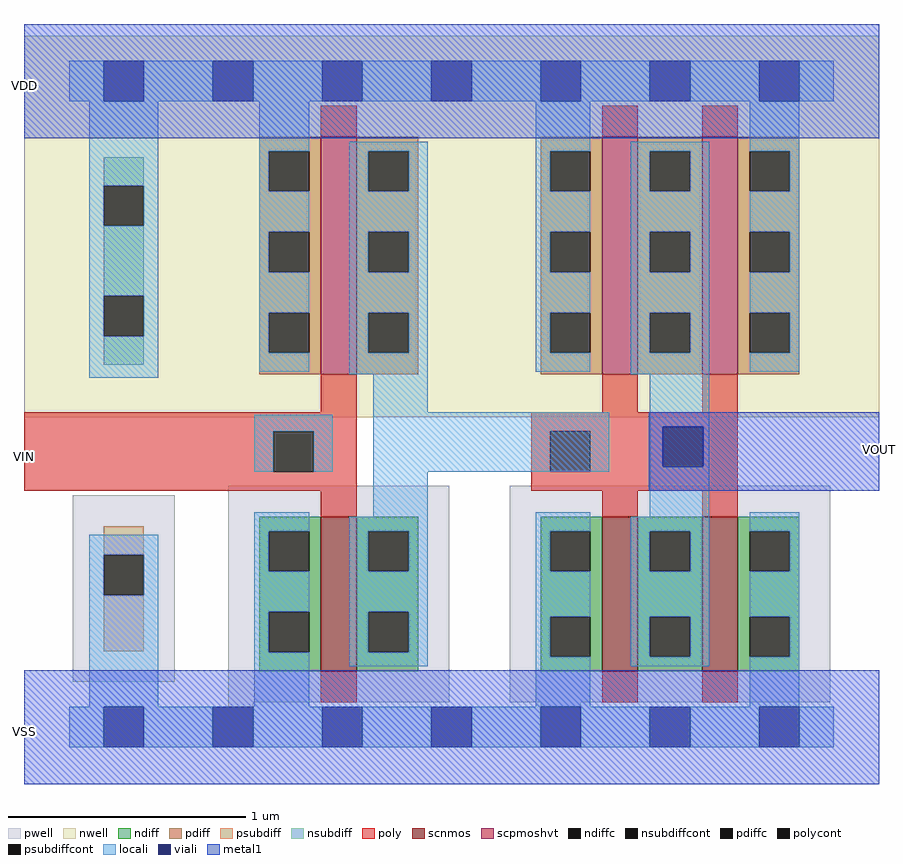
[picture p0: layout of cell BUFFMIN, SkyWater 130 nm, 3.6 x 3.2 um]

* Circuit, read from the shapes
.subckt BUFFMIN VDD VIN VOUT VSS
XM1 sky130_fd_sc_hd__inv_2_0/A VIN VSS VSS sky130_fd_pr__nfet_01v8 w=0.65 l=0.15
XM2 VOUT sky130_fd_sc_hd__inv_2_0/A VSS VSS sky130_fd_pr__nfet_01v8 w=0.65 l=0.15 m=2
XM3 sky130_fd_sc_hd__inv_2_0/A VIN VDD VDD sky130_fd_pr__pfet_01v8_hvt w=1 l=0.15
XM4 VOUT sky130_fd_sc_hd__inv_2_0/A VDD VDD sky130_fd_pr__pfet_01v8_hvt w=1 l=0.15 m=2
.ends

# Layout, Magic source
magic
tech sky130A
magscale 1 2
<< poly >>
rect -76 199 118 265
<< locali >>
rect 218 215 416 265
<< viali >>
rect 462 219 496 253
<< metal1 >>
rect -76 496 644 592
rect 450 253 644 265
rect 450 219 462 253
rect 496 219 644 253
rect 450 199 644 219
rect -76 -48 644 48
use sky130_fd_sc_hd__inv_1  sky130_fd_sc_hd__inv_1_0
transform 1 0 54 0 1 0
box -38 -48 314 592
use sky130_fd_sc_hd__inv_2$1  sky130_fd_sc_hd__inv_2_0
transform 1 0 330 0 1 0
box -38 -48 314 592
use sky130_fd_sc_hd__tapvpwrvgnd_1$1  sky130_fd_sc_hd__tapvpwrvgnd_1_0
transform 1 0 -38 0 1 0
box -38 -48 130 592
<< labels >>
rlabel metal1 s 644 234 644 234 4 VOUT
rlabel metal1 s -76 -4 -76 -4 4 VSS
rlabel metal1 s -76 540 -76 540 4 VDD
rlabel poly s -76 228 -76 228 4 VIN
<< end >>

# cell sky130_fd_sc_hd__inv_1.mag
magic
tech sky130A
magscale 1 2
<< nwell >>
rect -38 261 314 582
<< pwell >>
rect 42 21 228 203
rect 42 17 63 21
rect 29 -17 63 17
<< scnmos >>
rect 120 47 150 177
<< scpmoshvt >>
rect 120 297 150 497
<< ndiff >>
rect 68 165 120 177
rect 68 131 76 165
rect 110 131 120 165
rect 68 97 120 131
rect 68 63 76 97
rect 110 63 120 97
rect 68 47 120 63
rect 150 165 202 177
rect 150 131 160 165
rect 194 131 202 165
rect 150 97 202 131
rect 150 63 160 97
rect 194 63 202 97
rect 150 47 202 63
<< pdiff >>
rect 68 485 120 497
rect 68 451 76 485
rect 110 451 120 485
rect 68 417 120 451
rect 68 383 76 417
rect 110 383 120 417
rect 68 349 120 383
rect 68 315 76 349
rect 110 315 120 349
rect 68 297 120 315
rect 150 485 202 497
rect 150 451 160 485
rect 194 451 202 485
rect 150 417 202 451
rect 150 383 160 417
rect 194 383 202 417
rect 150 349 202 383
rect 150 315 160 349
rect 194 315 202 349
rect 150 297 202 315
<< ndiffc >>
rect 76 131 110 165
rect 76 63 110 97
rect 160 131 194 165
rect 160 63 194 97
<< pdiffc >>
rect 76 451 110 485
rect 76 383 110 417
rect 76 315 110 349
rect 160 451 194 485
rect 160 383 194 417
rect 160 315 194 349
<< poly >>
rect 120 497 150 523
rect 120 265 150 297
rect 64 249 150 265
rect 64 215 80 249
rect 114 215 150 249
rect 64 199 150 215
rect 120 177 150 199
rect 120 21 150 47
<< polycont >>
rect 80 215 114 249
<< locali >>
rect 0 527 29 561
rect 63 527 121 561
rect 155 527 213 561
rect 247 527 276 561
rect 68 485 110 527
rect 68 451 76 485
rect 68 417 110 451
rect 68 383 76 417
rect 68 349 110 383
rect 68 315 76 349
rect 68 299 110 315
rect 144 485 210 493
rect 144 451 160 485
rect 194 451 210 485
rect 144 417 210 451
rect 144 383 160 417
rect 194 383 210 417
rect 144 349 210 383
rect 144 315 160 349
rect 194 315 210 349
rect 144 297 210 315
rect 64 249 130 263
rect 64 215 80 249
rect 114 215 130 249
rect 64 165 110 181
rect 164 177 210 297
rect 64 131 76 165
rect 64 97 110 131
rect 64 63 76 97
rect 64 17 110 63
rect 144 165 210 177
rect 144 131 160 165
rect 194 131 210 165
rect 144 97 210 131
rect 144 63 160 97
rect 194 63 210 97
rect 144 51 210 63
rect 0 -17 29 17
rect 63 -17 121 17
rect 155 -17 213 17
rect 247 -17 276 17
<< viali >>
rect 29 527 63 561
rect 121 527 155 561
rect 213 527 247 561
rect 29 -17 63 17
rect 121 -17 155 17
rect 213 -17 247 17
<< metal1 >>
rect 0 561 276 592
rect 0 527 29 561
rect 63 527 121 561
rect 155 527 213 561
rect 247 527 276 561
rect 0 496 276 527
rect 0 17 276 48
rect 0 -17 29 17
rect 63 -17 121 17
rect 155 -17 213 17
rect 247 -17 276 17
rect 0 -48 276 -17
<< labels >>
flabel metal1 s 29 -17 63 17 0 FreeSans 200 0 0 0 VGND
port 1 nsew
flabel metal1 s 29 527 63 561 0 FreeSans 200 0 0 0 VPWR
port 2 nsew
rlabel comment s 0 0 0 0 4 inv_1
flabel locali s 164 289 198 323 0 FreeSans 340 0 0 0 Y
port 7 nsew
flabel locali s 164 221 198 255 0 FreeSans 340 0 0 0 Y
port 7 nsew
flabel locali s 72 221 106 255 0 FreeSans 340 0 0 0 A
port 6 nsew
flabel nwell s 29 527 63 561 0 FreeSans 200 0 0 0 VPB
port 4 nsew
flabel pwell s 29 -17 63 17 0 FreeSans 200 0 0 0 VNB
port 5 nsew
<< properties >>
string FIXED_BBOX 0 0 276 544
string path 0.000 0.000 1.380 0.000 
<< end >>

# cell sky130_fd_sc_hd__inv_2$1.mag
magic
tech sky130A
magscale 1 2
<< nwell >>
rect -38 261 314 582
<< pwell >>
rect 3 21 273 203
rect 29 -17 63 21
<< scnmos >>
rect 81 47 111 177
rect 165 47 195 177
<< scpmoshvt >>
rect 81 297 111 497
rect 165 297 195 497
<< ndiff >>
rect 29 165 81 177
rect 29 131 37 165
rect 71 131 81 165
rect 29 93 81 131
rect 29 59 37 93
rect 71 59 81 93
rect 29 47 81 59
rect 111 165 165 177
rect 111 131 121 165
rect 155 131 165 165
rect 111 93 165 131
rect 111 59 121 93
rect 155 59 165 93
rect 111 47 165 59
rect 195 165 247 177
rect 195 131 205 165
rect 239 131 247 165
rect 195 93 247 131
rect 195 59 205 93
rect 239 59 247 93
rect 195 47 247 59
<< pdiff >>
rect 29 485 81 497
rect 29 451 37 485
rect 71 451 81 485
rect 29 417 81 451
rect 29 383 37 417
rect 71 383 81 417
rect 29 349 81 383
rect 29 315 37 349
rect 71 315 81 349
rect 29 297 81 315
rect 111 485 165 497
rect 111 451 121 485
rect 155 451 165 485
rect 111 417 165 451
rect 111 383 121 417
rect 155 383 165 417
rect 111 349 165 383
rect 111 315 121 349
rect 155 315 165 349
rect 111 297 165 315
rect 195 485 247 497
rect 195 451 205 485
rect 239 451 247 485
rect 195 417 247 451
rect 195 383 205 417
rect 239 383 247 417
rect 195 349 247 383
rect 195 315 205 349
rect 239 315 247 349
rect 195 297 247 315
<< ndiffc >>
rect 37 131 71 165
rect 37 59 71 93
rect 121 131 155 165
rect 121 59 155 93
rect 205 131 239 165
rect 205 59 239 93
<< pdiffc >>
rect 37 451 71 485
rect 37 383 71 417
rect 37 315 71 349
rect 121 451 155 485
rect 121 383 155 417
rect 121 315 155 349
rect 205 451 239 485
rect 205 383 239 417
rect 205 315 239 349
<< poly >>
rect 81 497 111 523
rect 165 497 195 523
rect 81 265 111 297
rect 165 265 195 297
rect 21 249 195 265
rect 21 215 37 249
rect 71 215 195 249
rect 21 199 195 215
rect 81 177 111 199
rect 165 177 195 199
rect 81 21 111 47
rect 165 21 195 47
<< polycont >>
rect 37 215 71 249
<< locali >>
rect 0 527 29 561
rect 63 527 121 561
rect 155 527 213 561
rect 247 527 276 561
rect 25 485 71 527
rect 25 451 37 485
rect 25 417 71 451
rect 25 383 37 417
rect 25 349 71 383
rect 25 315 37 349
rect 25 299 71 315
rect 105 485 171 493
rect 105 451 121 485
rect 155 451 171 485
rect 105 417 171 451
rect 105 383 121 417
rect 155 383 171 417
rect 105 349 171 383
rect 105 315 121 349
rect 155 315 171 349
rect 105 297 171 315
rect 205 485 247 527
rect 239 451 247 485
rect 205 417 247 451
rect 239 383 247 417
rect 205 349 247 383
rect 239 315 247 349
rect 205 299 247 315
rect 21 249 87 265
rect 21 215 37 249
rect 71 215 87 249
rect 25 165 71 181
rect 121 177 171 297
rect 25 131 37 165
rect 25 93 71 131
rect 25 59 37 93
rect 25 17 71 59
rect 105 165 171 177
rect 105 131 121 165
rect 155 131 171 165
rect 105 93 171 131
rect 105 59 121 93
rect 155 59 171 93
rect 105 51 171 59
rect 205 165 247 181
rect 239 131 247 165
rect 205 93 247 131
rect 239 59 247 93
rect 205 17 247 59
rect 0 -17 29 17
rect 63 -17 121 17
rect 155 -17 213 17
rect 247 -17 276 17
<< viali >>
rect 29 527 63 561
rect 121 527 155 561
rect 213 527 247 561
rect 29 -17 63 17
rect 121 -17 155 17
rect 213 -17 247 17
<< metal1 >>
rect 0 561 276 592
rect 0 527 29 561
rect 63 527 121 561
rect 155 527 213 561
rect 247 527 276 561
rect 0 496 276 527
rect 0 17 276 48
rect 0 -17 29 17
rect 63 -17 121 17
rect 155 -17 213 17
rect 247 -17 276 17
rect 0 -48 276 -17
<< labels >>
flabel metal1 s 29 527 63 561 0 FreeSans 200 0 0 0 VPWR
port 1 nsew
flabel metal1 s 29 -17 63 17 0 FreeSans 200 0 0 0 VGND
port 2 nsew
rlabel comment s 0 0 0 0 4 inv_2
flabel locali s 29 221 63 255 0 FreeSans 340 0 0 0 A
port 7 nsew
flabel locali s 121 153 155 187 0 FreeSans 340 0 0 0 Y
port 6 nsew
flabel locali s 121 289 155 323 0 FreeSans 340 0 0 0 Y
port 6 nsew
flabel locali s 121 221 155 255 0 FreeSans 340 0 0 0 Y
port 6 nsew
flabel nwell s 29 527 63 561 0 FreeSans 200 0 0 0 VPB
port 4 nsew
flabel pwell s 29 -17 63 17 0 FreeSans 200 0 0 0 VNB
port 5 nsew
<< properties >>
string FIXED_BBOX 0 0 276 544
string path 0.000 0.000 1.380 0.000 
<< end >>

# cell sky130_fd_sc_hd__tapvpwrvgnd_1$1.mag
magic
tech sky130A
magscale 1 2
<< nwell >>
rect -38 261 130 582
<< pwell >>
rect 3 38 89 195
<< psubdiff >>
rect 29 145 63 169
rect 29 64 63 111
<< nsubdiff >>
rect 29 456 63 480
rect 29 363 63 422
rect 29 305 63 329
<< psubdiffcont >>
rect 29 111 63 145
<< nsubdiffcont >>
rect 29 422 63 456
rect 29 329 63 363
<< locali >>
rect 0 527 29 561
rect 63 527 92 561
rect 17 456 75 527
rect 17 422 29 456
rect 63 422 75 456
rect 17 363 75 422
rect 17 329 29 363
rect 63 329 75 363
rect 17 294 75 329
rect 17 145 75 162
rect 17 111 29 145
rect 63 111 75 145
rect 17 17 75 111
rect 0 -17 29 17
rect 63 -17 92 17
<< viali >>
rect 29 527 63 561
rect 29 -17 63 17
<< metal1 >>
rect 0 561 92 592
rect 0 527 29 561
rect 63 527 92 561
rect 0 496 92 527
rect 0 17 92 48
rect 0 -17 29 17
rect 63 -17 92 17
rect 0 -48 92 -17
<< labels >>
flabel metal1 s 22 524 75 553 0 FreeSans 200 0 0 0 VPWR
port 2 nsew
flabel metal1 s 21 -18 72 20 0 FreeSans 200 0 0 0 VGND
port 1 nsew
rlabel comment s 0 0 0 0 4 tapvpwrvgnd_1
<< properties >>
string FIXED_BBOX 0 0 92 544
<< end >>
